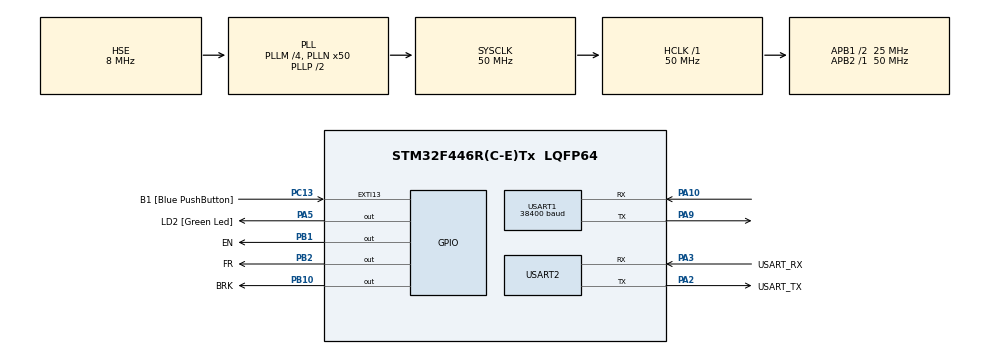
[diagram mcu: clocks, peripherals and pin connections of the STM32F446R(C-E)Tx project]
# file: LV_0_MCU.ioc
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FREERTOS.Tasks01=ParsingTask,24,128,vParsing,Default,NULL,Dynamic,NULL,NULL;ServeQueueTask,24,256,vServeQueue,Default,NULL,Dynamic,NULL,NULL;TransitTask,24,128,vTransit,Default,NULL,Dynamic,NULL,NULL;UART_WriteTask,24,256,vUART_Write,Default,NULL,Dynamic,NULL,NULL;UART_ReadTask,24,512,vUART_Read,Default,NULL,Dynamic,NULL,NULL;ProcessTask,24,256,vProcess,Default,NULL,Dynamic,NULL,NULL;StopperTask,24,256,vStopper,Default,NULL,Dynamic,NULL,NULL
FREERTOS.Timers01=xStartTransitTimer,vStartTransit,osTimerPeriodic,Default,NULL,Dynamic,NULL;xReachTimer,vReach,osTimerPeriodic,Default,NULL,Dynamic,NULL
FREERTOS.configUSE_NEWLIB_REENTRANT=1
Mcu.Family=STM32F4
Mcu.Name=STM32F446R(C-E)Tx
Mcu.Package=LQFP64
NVIC.PriorityGroup=NVIC_PRIORITYGROUP_4
NVIC.TIM6_DAC_IRQn=true\:15\:0\:false\:false\:true\:false\:false\:true\:true
NVIC.TimeBase=TIM6_DAC_IRQn
NVIC.TimeBaseIP=TIM6
NVIC.USART1_IRQn=true\:5\:0\:false\:false\:true\:true\:true\:true\:true
PA10.Mode=Asynchronous
PA10.Signal=USART1_RX
PA13.GPIO_Label=TMS
PA13.Mode=Serial_Wire
PA13.Signal=SYS_JTMS-SWDIO
PA14.GPIO_Label=TCK
PA14.Mode=Serial_Wire
PA14.Signal=SYS_JTCK-SWCLK
PA2.GPIO_Label=USART_TX
PA2.Mode=Asynchronous
PA2.Signal=USART2_TX
PA3.GPIO_Label=USART_RX
PA3.Mode=Asynchronous
PA3.Signal=USART2_RX
PA5.GPIO_Label=LD2 [Green Led]
PA5.Signal=GPIO_Output
PA9.Mode=Asynchronous
PA9.Signal=USART1_TX
PB1.GPIO_Label=EN
PB1.Signal=GPIO_Output
PB10.GPIO_Label=BRK
PB10.Signal=GPIO_Output
PB2.GPIO_Label=FR
PB2.Signal=GPIO_Output
PB3.GPIO_Label=SWO
PB3.Signal=SYS_JTDO-SWO
PC13.GPIO_Label=B1 [Blue PushButton]
PC13.GPIO_ModeDefaultEXTI=GPIO_MODE_IT_FALLING
PC13.Signal=GPXTI13
PC14-OSC32_IN.Mode=LSE-External-Oscillator
PC14-OSC32_IN.Signal=RCC_OSC32_IN
PC15-OSC32_OUT.Mode=LSE-External-Oscillator
PC15-OSC32_OUT.Signal=RCC_OSC32_OUT
PH0-OSC_IN.Mode=HSE-External-Oscillator
PH0-OSC_IN.Signal=RCC_OSC_IN
PH1-OSC_OUT.Mode=HSE-External-Oscillator
PH1-OSC_OUT.Signal=RCC_OSC_OUT
ProjectManager.HeapSize=0x200
ProjectManager.StackSize=0x400
ProjectManager.TargetToolchain=STM32CubeIDE
RCC.48MHZClocksFreq_Value=84000000
RCC.AHBFreq_Value=50000000
RCC.APB1CLKDivider=RCC_HCLK_DIV2
RCC.APB1Freq_Value=25000000
RCC.APB1TimFreq_Value=50000000
RCC.APB2Freq_Value=50000000
RCC.APB2TimFreq_Value=50000000
RCC.CortexFreq_Value=50000000
RCC.FLatency-AdvancedSettings=FLASH_LATENCY_1
RCC.HCLKFreq_Value=50000000
RCC.HSE_VALUE=8000000
RCC.HSI_VALUE=16000000
RCC.PLLM=4
RCC.PLLN=50
RCC.PLLSourceVirtual=RCC_PLLSOURCE_HSE
RCC.SYSCLKFreq_VALUE=50000000
RCC.SYSCLKSource=RCC_SYSCLKSOURCE_PLLCLK
RCC.USBFreq_Value=50000000
RCC.VCOOutputFreq_Value=100000000
USART1.BaudRate=38400
USART1.Parity=PARITY_EVEN
USART1.VirtualMode=VM_ASYNC
USART1.WordLength=WORDLENGTH_9B
USART2.VirtualMode=VM_ASYNC
VP_FREERTOS_VS_CMSIS_V2.Mode=CMSIS_V2
VP_SYS_VS_tim6.Mode=TIM6
board=NUCLEO-F446RE

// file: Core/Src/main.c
/* USER CODE BEGIN Header */
/**
  ******************************************************************************
  * @file           : main.c
  * @brief          : Main program body
  ******************************************************************************
  * @attention
  *
  * Copyright (c) 2025 STMicroelectronics.
  * All rights reserved.
  *
  * This software is licensed under terms that can be found in the LICENSE file
  * in the root directory of this software component.
  * If no LICENSE file comes with this software, it is provided AS-IS.
  *
  ******************************************************************************
  */
/* USER CODE END Header */
#include "main.h"
#include "cmsis_os.h"

/* USER CODE BEGIN Includes */
#include "modbus_crc.h"
#include "queue.h"
#include "semphr.h"
#include "string.h"
#include "stdlib.h"
/* USER CODE END Includes */

/* USER CODE BEGIN PTD */
typedef struct{
	uint8_t slaveID;
	uint16_t start_address_readHreg;
	uint16_t num_readHreg;
	uint16_t start_address_writeHreg;
	uint16_t num_writeHreg;
}NewSlave;

typedef struct{
    uint8_t data[32];
    uint16_t size;
}UART_Frame;

typedef enum{
	CAR,
	HALL,
	MQTT,
	DRIVER
}current_slave;

typedef enum{
	HALL_UI,
	CABIN
}call_by;

typedef enum{
	IDLE,
	UP,
	DOWN
}direction;

typedef enum{
	STAY,
	MOVING
}curr_action;

typedef enum{
	WAIT,
	READ,
	WRITE
}transaction_t;

//typedef struct{
//	direction dir;
//	uint16_t toque;
//	uint16_t speed1;
//	uint16_t speed2;
//	void (*on)(void);
//	void (*rotate)(direction r);
//}SERVO;

typedef struct{
	uint8_t from;
	uint8_t dest;
	direction dir;
	uint8_t target;
	call_by requestBy;
}transitReq;

typedef struct{
	//uint8_t request[8];
	transitReq request[8];
	uint8_t front;
	uint8_t rear;
}SERVE_QUEUE;

typedef struct{
	uint8_t max_fl;
	uint8_t min_fl;
	uint8_t pos;
	direction dir;
	curr_action action;
}ELEVATOR_CAR;

NewSlave CAR_STA = {
		.slaveID = 0x01,
		.start_address_readHreg = 0x0002,     // 0  1  / 2  3
		.num_readHreg = 0x0002,
		.start_address_writeHreg = 0x0000,
		.num_writeHreg = 0x0002,
};

NewSlave HALL_STA = {
		.slaveID = 0x02,
		.start_address_readHreg = 0x0004,
		.num_readHreg = 0x0003,
		.start_address_writeHreg = 0x0000,
		.num_writeHreg = 0x0004,
};

NewSlave MQTT_STA = {
		.slaveID = 0x03,
		.start_address_readHreg = 0x0000,
		.num_readHreg = 0x0001,
		.start_address_writeHreg = 0x0000,
		.num_writeHreg = 0x0001,
};

NewSlave SERVO_DRIVER = {
		.slaveID = 0x7F,
		.start_address_readHreg = 0x0000,
		.num_readHreg = 0x0001,
		.start_address_writeHreg = 0x0000,
		.num_writeHreg = 0x0001,
};

SERVE_QUEUE queue_UP;
SERVE_QUEUE queue_DW;
transitReq buffReq;
transaction_t mbState = READ;

uint8_t curr_transit_to;

uint8_t lastTarget_CAR = 0;
uint32_t lastTimeCAR = 0;
uint8_t UP_lastTarget_HALL = 0;
uint32_t UP_lastTimeHALL = 0;
uint8_t DW_lastTarget_HALL = 0;
uint32_t DW_lastTimeHALL = 0;
uint8_t requestByCar[8];

int x,y,z,xx, yy,zz;

ELEVATOR_CAR cabin_1 = {
		.max_fl = 8,
		.min_fl = 1,
		.pos = 1,
		.dir = IDLE,
		.action = STAY
};

/* USER CODE END PTD */

/* USER CODE BEGIN PD */
#define FRAME_SIZE 32
#define RESPONSE_TIMEOUT 20
#define QUEUE_SIZE 32
#define DEBOUNCE_MS 1000

//servo macro
//#define SERVO_ON(obj) (obj).on(&(obj))
//#define SERV0_ROTATE(obj, dir) (obj).rotate(&(obj), dir, (obj).speed)
//#define SERVO_SET_SPD(obj, spd) (obj).speed = spd

/* USER CODE END PD */

/* USER CODE BEGIN PM */
#define DIR(car_pos, dest)  ((car_pos) > (dest) ? DOWN : UP)
/* USER CODE END PM */

UART_HandleTypeDef huart1;
UART_HandleTypeDef huart2;

/* Definitions for ParsingTask */
osThreadId_t ParsingTaskHandle;
const osThreadAttr_t ParsingTask_attributes = {
  .name = "ParsingTask",
  .stack_size = 128 * 4,
  .priority = (osPriority_t) osPriorityNormal,
};
/* Definitions for ServeQueueTask */
osThreadId_t ServeQueueTaskHandle;
const osThreadAttr_t ServeQueueTask_attributes = {
  .name = "ServeQueueTask",
  .stack_size = 256 * 4,
  .priority = (osPriority_t) osPriorityNormal,
};
/* Definitions for TransitTask */
osThreadId_t TransitTaskHandle;
const osThreadAttr_t TransitTask_attributes = {
  .name = "TransitTask",
  .stack_size = 128 * 4,
  .priority = (osPriority_t) osPriorityNormal,
};
/* Definitions for UART_WriteTask */
osThreadId_t UART_WriteTaskHandle;
const osThreadAttr_t UART_WriteTask_attributes = {
  .name = "UART_WriteTask",
  .stack_size = 256 * 4,
  .priority = (osPriority_t) osPriorityNormal,
};
/* Definitions for UART_ReadTask */
osThreadId_t UART_ReadTaskHandle;
const osThreadAttr_t UART_ReadTask_attributes = {
  .name = "UART_ReadTask",
  .stack_size = 512 * 4,
  .priority = (osPriority_t) osPriorityNormal,
};
/* Definitions for ProcessTask */
osThreadId_t ProcessTaskHandle;
const osThreadAttr_t ProcessTask_attributes = {
  .name = "ProcessTask",
  .stack_size = 256 * 4,
  .priority = (osPriority_t) osPriorityNormal,
};
/* Definitions for StopperTask */
osThreadId_t StopperTaskHandle;
const osThreadAttr_t StopperTask_attributes = {
  .name = "StopperTask",
  .stack_size = 256 * 4,
  .priority = (osPriority_t) osPriorityNormal,
};
/* Definitions for xStartTransitTimer */
osTimerId_t xStartTransitTimerHandle;
const osTimerAttr_t xStartTransitTimer_attributes = {
  .name = "xStartTransitTimer"
};
/* Definitions for xReachTimer */
osTimerId_t xReachTimerHandle;
const osTimerAttr_t xReachTimer_attributes = {
  .name = "xReachTimer"
};
/* USER CODE BEGIN PV */
uint8_t RxData[16] = {0};
uint8_t read_TxFrame[8][16] = {0};
uint8_t write_TxFrame[8][16] = {0};
uint8_t read_RxFrame[8][16] = {0};
uint16_t CAR_TxFrame[8] = {0};
uint16_t HALL_TxFrame[8] = {0};
uint16_t floorDetect = -1;

current_slave read_state = CAR;
current_slave write_state = CAR;

int car_aiming[16] = {0};
int val_car;
int val_up;
int val_dw;

QueueHandle_t xUART_QueueHandle;
QueueHandle_t xServe_QueueHandle;
SemaphoreHandle_t xQueueSem;
SemaphoreHandle_t xQueueMutex;
SemaphoreHandle_t xUARTMutex;
SemaphoreHandle_t xTransitDoneSem;
SemaphoreHandle_t xModbusMutex;
SemaphoreHandle_t xSemServeQueue;
/* USER CODE END PV */

void SystemClock_Config(void);
static void MX_GPIO_Init(void);
static void MX_USART2_UART_Init(void);
static void MX_USART1_UART_Init(void);
void vParsing(void *argument);
void vServeQueue(void *argument);
void vTransit(void *argument);
void vUART_Write(void *argument);
void vUART_Read(void *argument);
void vProcess(void *argument);
void vStopper(void *argument);
void vStartTransit(void *argument);
void vReach(void *argument);

/* USER CODE BEGIN 0 */

void HAL_UARTEx_RxEventCallback(UART_HandleTypeDef *huart, uint16_t Size)
{
	if(RxData[1] != 0x03){
			HAL_UARTEx_ReceiveToIdle_IT(&huart1, RxData, 32);
		return;
	}
	UART_Frame localBuf;
	uint16_t crc_received = RxData[Size - 2] | (RxData[Size - 1] << 8);
	uint16_t crc_calculated = crc16(RxData, Size - 2);

    if (crc_received != crc_calculated) {
    		HAL_UARTEx_ReceiveToIdle_IT(&huart1, RxData, 32);
		return;
    }
	if (Size < 5) {
	        HAL_UARTEx_ReceiveToIdle_IT(&huart1, RxData, FRAME_SIZE);
	    return;
	}
//	if(RxData[1] = 0x03){
//	localBuf.size = Size;
//	    memcpy(localBuf.data, RxData, Size);
//	    xQueueSendFromISR(xUART_QueueHandle, &localBuf, NULL);
//	}

	localBuf.size = Size;
    BaseType_t xHigherPriorityTaskWoken = pdFALSE;
	memcpy(localBuf.data, RxData, Size);
    xQueueSendFromISR(xUART_QueueHandle, &localBuf, &xHigherPriorityTaskWoken);

	memset(RxData, 0, sizeof(RxData));
	HAL_UARTEx_ReceiveToIdle_IT(&huart1, RxData, 32);

}

void writeBit(uint16_t *package, uint8_t loc, uint8_t state){
    if (state) {
        *package = *package | (1 << loc);      // set
    } else {
        *package = *package & ~(1 << loc);     // clear
    }
}

void parseEndian(uint16_t val, uint8_t *hi, uint8_t *lo){
     *hi = (val >> 8) & 0xFF;
     *lo = val & 0xFF;
}

void extractBits(int val, int *arr[16], uint8_t size) {
    for(int i = 0; i < size; i++) {
        arr[i] = (val >> i) & 1;
    }
}

uint8_t read_Hreg(NewSlave *a, uint8_t *frame)
{
	int len = 0;
	   frame[len++] = a->slaveID;
	   frame[len++] = 0x03;

	   parseEndian(a->start_address_readHreg, &frame[len], &frame[len+1]);
	   len+=2;
	   parseEndian(a->num_readHreg, &frame[len], &frame[len+1]);
	   len+=2;

	   uint16_t crc = crc16(frame, len);
	   frame[len++] = crc&0xFF;
	   frame[len++] = (crc>>8)&0xFF;

	   return len;
}

uint8_t write_singleHreg(NewSlave *a, uint32_t data, uint8_t *frame)
{

	int len = 0;
	   frame[len++] = a->slaveID;
	   frame[len++] = 0x06;

	   parseEndian(a->start_address_writeHreg, &frame[len], &frame[len+1]);
	   len+=2;

	   frame[len++] = (data >> 8) & 0xFF;
	   frame[len++] = data & 0xFF;

	   uint16_t crc = crc16(frame, len);
	   frame[len++] = crc&0xFF;
	   frame[len++] = (crc>>8)&0xFF;

	   return len;
}

uint8_t write_MultipleHreg(NewSlave *a, uint16_t data[16], uint8_t *frame)
{

	int len = 0;
	   frame[len++] = a->slaveID;
	   frame[len++] = 0x10;

	   parseEndian(a->start_address_writeHreg, &frame[len], &frame[len+1]);
	   len+=2;
	   parseEndian(a->num_writeHreg, &frame[len], &frame[len+1]);
	   len+=2;

	   frame[len++] = a->num_writeHreg * 2;

	   for (int i = 0; i < a->num_writeHreg; i++) {
		   frame[len++] = (data[i] >> 8) & 0xFF;
		   frame[len++] = data[i] & 0xFF;
	   }

	   uint16_t crc = crc16(frame, len);
	   frame[len++] = crc&0xFF;
	   frame[len++] = (crc>>8)&0xFF;

	   return len;
}

int isFull(SERVE_QUEUE *queue){
    int next = (queue->rear + 1) % QUEUE_SIZE;
    return(next == queue->front);
}

int isEmpty(SERVE_QUEUE *queue){
    return(queue->front == queue->rear);
}

int enqueue(transitReq task, SERVE_QUEUE *queue) {
    if(isFull(queue)) return 0;

//    int queue->rear = queue->rear + 1;
    queue->request[queue->rear].target = task.target;
    queue->request[queue->rear].requestBy = task.requestBy;
    if(queue->request[queue->rear].requestBy == CABIN) requestByCar[task.target] = 1;
    queue->rear = (queue->rear+1) % QUEUE_SIZE;
    return 1;
}

int dequeue(SERVE_QUEUE *queue) {
	if(isEmpty(queue)) return 0;
//    queue->request[queue->front] = queue->request[queue->front+1];
//    queue->request[queue->front] = (queue->front + 1) % QUEUE_SIZE;
//    queue->request[queue->front-1] = 0;
	if(queue->request[queue->front].requestBy == CABIN) requestByCar[queue->request[queue->front].target] = 0;
    queue->front = (queue->front + 1) % QUEUE_SIZE;
    return 1;
}

//int insertqueue(transitReq task, SERVE_QUEUE *queue, int pos){
//    int next = (queue->rear + 1) % QUEUE_SIZE;
//    if(next == queue->front) return 0;
//
//    int curr = queue->rear;
//    while (curr != pos) {
//    	int next = curr+1;
//    	int prev = curr-1;
//    	queue->request[next] = queue->request[curr];
//    	queue->request[curr] = queue->request[prev];
//    	curr = prev;
//    }
//
//    queue->request[pos] = task.target;
//	return 1;
//}

//void sortByProximity(uint8_t arr[], uint8_t pos) {
//    uint8_t n = QUEUE_SIZE;
//    uint8_t i, j, temp;
//    for (i = 0; i < n - 1; i++) {
//        for (j = 0; j < n - i - 1; j++) {
//        	int diff1 = abs(arr[j] - pos);
//        	int diff2 = abs(arr[j + 1] - pos);
//            if (diff1 > diff2) {
//                temp = arr[j];
//                arr[j] = arr[j + 1];
//                arr[j + 1] = temp;
//            }
//        }
//    }
//}
void sortByProximity(SERVE_QUEUE *queue, uint8_t pos) {
    int count = (queue->rear >= queue->front)
                ? (queue->rear - queue->front)
                : (QUEUE_SIZE - queue->front + queue->rear);

    for (int i = 0; i < count - 1; i++) {
        for (int j = 0; j < count - i - 1; j++) {
            int idx1 = (queue->front + j) % QUEUE_SIZE;
            int idx2 = (queue->front + j + 1) % QUEUE_SIZE;
            int diff1 = abs(queue->request[idx1].target - pos);
            int diff2 = abs(queue->request[idx2].target - pos);
            if (diff1 > diff2) {
                uint8_t temp = queue->request[idx1].target;
                queue->request[idx1].target = queue->request[idx2].target;
                queue->request[idx2].target = temp;
            }
        }
    }
}

int elevatorQueueManage(ELEVATOR_CAR *car, transitReq task, SERVE_QUEUE *up, SERVE_QUEUE *dw){

	if(car->dir == IDLE){
		car->dir = task.dir;
	}

	if(task.dir == UP){
		enqueue(task, up);
		//sortByProximity(up->request, car->pos);
		sortByProximity(up, car->pos);
		//curr_transit_to = up.request[up.front];

	}else{
		enqueue(task, dw);
//		sortByProximity(dw->request, car->pos);
		sortByProximity(dw, car->pos);
		//curr_transit_to = dw.request[dw.front];

	}

	if(cabin_1.dir == UP) curr_transit_to = queue_UP.request[queue_UP.front].target;
    if(cabin_1.dir == DOWN) curr_transit_to = queue_DW.request[queue_DW.front].target;

	return 1;
}

/* USER CODE END 0 */

int main(void)
{

  /* USER CODE BEGIN 1 */
  xUART_QueueHandle = xQueueCreate(32, sizeof(UART_Frame));
  xServe_QueueHandle = xQueueCreate(32, sizeof(transitReq));
  xQueueMutex = xSemaphoreCreateMutex();
  xQueueSem = xSemaphoreCreateBinary();
  xUARTMutex = xSemaphoreCreateMutex();
  xTransitDoneSem = xSemaphoreCreateBinary();
  xModbusMutex = xSemaphoreCreateMutex();
  xSemServeQueue = xSemaphoreCreateBinary();

  /* USER CODE END 1 */

  /* MCU Configuration--------------------------------------------------------*/

  /* Reset of all peripherals, Initializes the Flash interface and the Systick. */
  HAL_Init();

  /* Configure the system clock */
  SystemClock_Config();

  /* Initialize all configured peripherals */
  MX_GPIO_Init();
  MX_USART2_UART_Init();
  MX_USART1_UART_Init();
  /* USER CODE BEGIN 2 */
  HAL_UARTEx_ReceiveToIdle_IT(&huart1, RxData, sizeof(RxData));

  /* USER CODE END 2 */

  /* Init scheduler */
  osKernelInitialize();

  /* Create the timer(s) */
  /* creation of xStartTransitTimer */
  xStartTransitTimerHandle = osTimerNew(vStartTransit, osTimerOnce, NULL, &xStartTransitTimer_attributes);

  /* creation of xReachTimer */
  xReachTimerHandle = osTimerNew(vReach, osTimerOnce, NULL, &xReachTimer_attributes);

  /* Create the thread(s) */
  /* creation of ParsingTask */
  ParsingTaskHandle = osThreadNew(vParsing, NULL, &ParsingTask_attributes);

  /* creation of ServeQueueTask */
  ServeQueueTaskHandle = osThreadNew(vServeQueue, NULL, &ServeQueueTask_attributes);

  /* creation of TransitTask */
  TransitTaskHandle = osThreadNew(vTransit, NULL, &TransitTask_attributes);

  /* creation of UART_WriteTask */
  UART_WriteTaskHandle = osThreadNew(vUART_Write, NULL, &UART_WriteTask_attributes);

  /* creation of UART_ReadTask */
  UART_ReadTaskHandle = osThreadNew(vUART_Read, NULL, &UART_ReadTask_attributes);

  /* creation of ProcessTask */
  ProcessTaskHandle = osThreadNew(vProcess, NULL, &ProcessTask_attributes);

  /* creation of StopperTask */
  StopperTaskHandle = osThreadNew(vStopper, NULL, &StopperTask_attributes);

  /* Start scheduler */
  osKernelStart();

  /* We should never get here as control is now taken by the scheduler */

  /* Infinite loop */
  while (1)
  {

  }
}

void SystemClock_Config(void)
{
  RCC_OscInitTypeDef RCC_OscInitStruct = {0};
  RCC_ClkInitTypeDef RCC_ClkInitStruct = {0};

  /** Configure the main internal regulator output voltage
  */
  __HAL_RCC_PWR_CLK_ENABLE();
  __HAL_PWR_VOLTAGESCALING_CONFIG(PWR_REGULATOR_VOLTAGE_SCALE3);

  /** Initializes the RCC Oscillators according to the specified parameters
  * in the RCC_OscInitTypeDef structure.
  */
  RCC_OscInitStruct.OscillatorType = RCC_OSCILLATORTYPE_HSE;
  RCC_OscInitStruct.HSEState = RCC_HSE_ON;
  RCC_OscInitStruct.PLL.PLLState = RCC_PLL_ON;
  RCC_OscInitStruct.PLL.PLLSource = RCC_PLLSOURCE_HSE;
  RCC_OscInitStruct.PLL.PLLM = 4;
  RCC_OscInitStruct.PLL.PLLN = 50;
  RCC_OscInitStruct.PLL.PLLP = RCC_PLLP_DIV2;
  RCC_OscInitStruct.PLL.PLLQ = 2;
  RCC_OscInitStruct.PLL.PLLR = 2;
  if (HAL_RCC_OscConfig(&RCC_OscInitStruct) != HAL_OK)
  {
    Error_Handler();
  }

  /** Initializes the CPU, AHB and APB buses clocks
  */
  RCC_ClkInitStruct.ClockType = RCC_CLOCKTYPE_HCLK|RCC_CLOCKTYPE_SYSCLK
                              |RCC_CLOCKTYPE_PCLK1|RCC_CLOCKTYPE_PCLK2;
  RCC_ClkInitStruct.SYSCLKSource = RCC_SYSCLKSOURCE_PLLCLK;
  RCC_ClkInitStruct.AHBCLKDivider = RCC_SYSCLK_DIV1;
  RCC_ClkInitStruct.APB1CLKDivider = RCC_HCLK_DIV2;
  RCC_ClkInitStruct.APB2CLKDivider = RCC_HCLK_DIV1;

  if (HAL_RCC_ClockConfig(&RCC_ClkInitStruct, FLASH_LATENCY_1) != HAL_OK)
  {
    Error_Handler();
  }
}

static void MX_USART1_UART_Init(void)
{

  huart1.Instance = USART1;
  huart1.Init.BaudRate = 38400;
  huart1.Init.WordLength = UART_WORDLENGTH_9B;
  huart1.Init.StopBits = UART_STOPBITS_1;
  huart1.Init.Parity = UART_PARITY_EVEN;
  huart1.Init.Mode = UART_MODE_TX_RX;
  huart1.Init.HwFlowCtl = UART_HWCONTROL_NONE;
  huart1.Init.OverSampling = UART_OVERSAMPLING_16;
  if (HAL_UART_Init(&huart1) != HAL_OK)
  {
    Error_Handler();
  }

}

static void MX_USART2_UART_Init(void)
{

  huart2.Instance = USART2;
  huart2.Init.BaudRate = 115200;
  huart2.Init.WordLength = UART_WORDLENGTH_8B;
  huart2.Init.StopBits = UART_STOPBITS_1;
  huart2.Init.Parity = UART_PARITY_NONE;
  huart2.Init.Mode = UART_MODE_TX_RX;
  huart2.Init.HwFlowCtl = UART_HWCONTROL_NONE;
  huart2.Init.OverSampling = UART_OVERSAMPLING_16;
  if (HAL_UART_Init(&huart2) != HAL_OK)
  {
    Error_Handler();
  }

}

static void MX_GPIO_Init(void)
{
  GPIO_InitTypeDef GPIO_InitStruct = {0};

  /* GPIO Ports Clock Enable */
  __HAL_RCC_GPIOC_CLK_ENABLE();
  __HAL_RCC_GPIOH_CLK_ENABLE();
  __HAL_RCC_GPIOA_CLK_ENABLE();
  __HAL_RCC_GPIOB_CLK_ENABLE();

  /*Configure GPIO pin Output Level */
  HAL_GPIO_WritePin(LD2_GPIO_Port, LD2_Pin, GPIO_PIN_RESET);

  /*Configure GPIO pin Output Level */
  HAL_GPIO_WritePin(GPIOB, EN_Pin|FR_Pin|BRK_Pin, GPIO_PIN_RESET);

  /*Configure GPIO pin : B1_Pin */
  GPIO_InitStruct.Pin = B1_Pin;
  GPIO_InitStruct.Mode = GPIO_MODE_IT_FALLING;
  GPIO_InitStruct.Pull = GPIO_NOPULL;
  HAL_GPIO_Init(B1_GPIO_Port, &GPIO_InitStruct);

  /*Configure GPIO pin : LD2_Pin */
  GPIO_InitStruct.Pin = LD2_Pin;
  GPIO_InitStruct.Mode = GPIO_MODE_OUTPUT_PP;
  GPIO_InitStruct.Pull = GPIO_NOPULL;
  GPIO_InitStruct.Speed = GPIO_SPEED_FREQ_LOW;
  HAL_GPIO_Init(LD2_GPIO_Port, &GPIO_InitStruct);

  /*Configure GPIO pins : EN_Pin FR_Pin BRK_Pin */
  GPIO_InitStruct.Pin = EN_Pin|FR_Pin|BRK_Pin;
  GPIO_InitStruct.Mode = GPIO_MODE_OUTPUT_PP;
  GPIO_InitStruct.Pull = GPIO_NOPULL;
  GPIO_InitStruct.Speed = GPIO_SPEED_FREQ_LOW;
  HAL_GPIO_Init(GPIOB, &GPIO_InitStruct);

}

void vParsing(void *argument)
{
  /* USER CODE BEGIN 5 */
  /* Infinite loop */
  for(;;)
  {
		UART_Frame frameBuf;
			if (xQueueReceive(xUART_QueueHandle, &frameBuf, portMAX_DELAY) == pdTRUE)
		    {
//		    	int id = frameBuf.data[0];
//		    	if(frameBuf.data[1] == 0x03){
//		    		memcpy(read_RxFrame[id], frameBuf.data, frameBuf.size);
//		    	}

		    	//if(frameBuf.data[1] == 0x10);

	        uint8_t slaveID = frameBuf.data[0];
			int index = -1;

			        switch(slaveID) {
			            case 0x01: index = 1; break;  // CAR_STA
			            case 0x02: index = 2; break;  // HALL_STA
			            case 0x03: index = 3; break;  // MQTT_STA
			            case 0x7F: index = 4; break;  // SERVO_DRIVER
			            default:
			                // Invalid slave ID - discard frame
			            	index = -1;
			                continue;
			        }

			        if(index >= 0 && index < 16) {
		                uint16_t copy_len = (frameBuf.size <= sizeof(read_RxFrame[0])) ? frameBuf.size : sizeof(read_RxFrame[0]);
			            memcpy(read_RxFrame[index], frameBuf.data, copy_len);
			        }

		    }
		vTaskDelay(pdMS_TO_TICKS(10));

  }
  /* USER CODE END 5 */
}

void vServeQueue(void *argument)
{
  /* USER CODE BEGIN vServeQueue */
  /* Infinite loop */
  transitReq request;
  for(;;)
  {
	  	  while(xQueueReceive(xServe_QueueHandle, &request, portMAX_DELAY)){
//		if(xSemaphoreTake(xSemServeQueue, portMAX_DELAY) == pdTRUE){
	  		  x = 1;
//				if(xSemaphoreTake(xQueueMutex, portMAX_DELAY) == pdTRUE){
					if(elevatorQueueManage(&cabin_1, request, &queue_UP, &queue_DW)){
		                if(cabin_1.action == STAY){
		                	x = 10;
//		                	if(cabin_1.dir == UP) curr_transit_to = queue_UP.request[queue_UP.front].target;
//			                if(cabin_1.dir == DOWN) curr_transit_to = queue_DW.request[queue_DW.front].target;
		                	osTimerStart(xStartTransitTimerHandle, 6000);
		                }
		                else{
		                	x = 11;
		                	osTimerStart(xStartTransitTimerHandle, 500);
		                }
					}
//		            xSemaphoreGive(xQueueMutex);
//				}
		    }

  }
  /* USER CODE END vServeQueue */
}

void vTransit(void *argument)
{
  /* USER CODE BEGIN vTransit */
  /* Infinite loop */
//  uint8_t dest;
  for(;;)
  {
	  if(xSemaphoreTake(xQueueSem, portMAX_DELAY) == pdTRUE){
//		  if(xSemaphoreTake(xQueueMutex, portMAX_DELAY) == pdTRUE){
//			  dest  = curr_transit_to;
//		      xSemaphoreGive(xQueueMutex);
//		  }
		  z = 1;
//		  if(cabin_1.pos == curr_transit_to) xSemaphoreGive(xTransitDoneSem);
		  if(cabin_1.dir == UP) HAL_GPIO_WritePin(FR_GPIO_Port, FR_Pin, GPIO_PIN_SET);
		  if(cabin_1.dir == DOWN) HAL_GPIO_WritePin(FR_GPIO_Port, FR_Pin, GPIO_PIN_RESET);
		  HAL_GPIO_WritePin(EN_GPIO_Port, EN_Pin, GPIO_PIN_SET);
		   //mocking cabin transit
//		  osTimerStart(xReachTimerHandle, 5000);

		  //xSemaphoreGive(xTransitDoneSem); //done transit flag
	  }
  }
  /* USER CODE END vTransit */
}

void vUART_Write(void *argument)
{
  /* USER CODE BEGIN vUART_Write */
  /* Infinite loop */
  uint8_t len;
  uint8_t up;
  uint8_t dw;
  uint8_t idle;

  for(;;)
  {

	  	switch(cabin_1.dir){
	  	case UP:
	  		up = 1;
	  		dw = 0;
	  		idle = 0;
	  		break;

	  	case DOWN:
	  		up = 0;
	  		dw = 1;
	  		idle = 0;
	  		break;

	  	case IDLE:
	  		up = 0;
	  		dw = 0;
	  		idle = 1;
	  		break;
	  	}

	  	uint8_t pos_b0 = (cabin_1.pos>>0) & 1;
	  	uint8_t pos_b1 = (cabin_1.pos>>1) & 1;
	  	uint8_t pos_b2 = (cabin_1.pos>>2) & 1;
	  	uint8_t pos_b3 = (cabin_1.pos>>3) & 1;

	  	if(mbState == WRITE){
		switch (write_state){
			case CAR:
				//packing for car
				//car first frame
				writeBit(&CAR_TxFrame[0], 4, dw); //dir dw
				writeBit(&CAR_TxFrame[0], 5, up); //dir up
				writeBit(&CAR_TxFrame[0], 6, pos_b0); //car pos b0
				writeBit(&CAR_TxFrame[0], 7, pos_b1);
				writeBit(&CAR_TxFrame[0], 8, pos_b2);
				writeBit(&CAR_TxFrame[0], 9, pos_b3);

				writeBit(&CAR_TxFrame[1], 0, requestByCar[0]);
				writeBit(&CAR_TxFrame[1], 1, requestByCar[1]);
				writeBit(&CAR_TxFrame[1], 2, requestByCar[2]);
				writeBit(&CAR_TxFrame[1], 3, requestByCar[3]);
				writeBit(&CAR_TxFrame[1], 4, requestByCar[4]);
				writeBit(&CAR_TxFrame[1], 5, requestByCar[5]);
				writeBit(&CAR_TxFrame[1], 6, requestByCar[6]);
				writeBit(&CAR_TxFrame[1], 7, requestByCar[7]);

				len = write_MultipleHreg(&CAR_STA, CAR_TxFrame, write_TxFrame[0]);
				HAL_UART_Transmit(&huart1, write_TxFrame[0], len, RESPONSE_TIMEOUT);

				write_state = HALL;
				break;

			case HALL:
				writeBit(&HALL_TxFrame[3], 0, dw); //dir dw
				writeBit(&HALL_TxFrame[3], 1, up); //dir up
				writeBit(&HALL_TxFrame[3], 2, pos_b0); //car pos b0
				writeBit(&HALL_TxFrame[3], 3, pos_b1);
				writeBit(&HALL_TxFrame[3], 4, pos_b2);
				writeBit(&HALL_TxFrame[3], 5, pos_b3);

				len = write_MultipleHreg(&HALL_STA, HALL_TxFrame, write_TxFrame[1]);
  				HAL_UART_Transmit(&huart1, write_TxFrame[1], len, RESPONSE_TIMEOUT);

				write_state = MQTT;
				break;
			case MQTT:
//				len = read_Hreg(&MQTT_STA, read_TxFrame[2]);
//				HAL_UART_Transmit(&huart1, read_TxFrame[2], len, RESPONSE_TIMEOUT);
				write_state = DRIVER;
				break;

			case DRIVER:
//				len = read_Hreg(&SERVO_DRIVER, read_TxFrame[3]);
//				HAL_UART_Transmit(&huart1, read_TxFrame[3], len, RESPONSE_TIMEOUT);
				write_state = CAR;
				mbState = READ;
				break;

			}
	  	}
	  	vTaskDelay(pdMS_TO_TICKS(20));
  }
  /* USER CODE END vUART_Write */
}

void vUART_Read(void *argument)
{
  /* USER CODE BEGIN vUART_Read */
  /* Infinite loop */
	  uint8_t len;
	  for(;;)
	  {
		if(mbState == READ){
		switch (read_state){
			case CAR:
  				len = read_Hreg(&CAR_STA, read_TxFrame[0]);
  				HAL_UART_Transmit(&huart1, read_TxFrame[0], len, RESPONSE_TIMEOUT);
				read_state = HALL;
				break;

			case HALL:
				len = read_Hreg(&HALL_STA, read_TxFrame[1]);
				HAL_UART_Transmit(&huart1, read_TxFrame[1], len, RESPONSE_TIMEOUT);
				read_state = MQTT;
				break;
			case MQTT:
				len = read_Hreg(&MQTT_STA, read_TxFrame[2]);
  				HAL_UART_Transmit(&huart1, read_TxFrame[2], len, RESPONSE_TIMEOUT);
				read_state = DRIVER;
				break;

			case DRIVER:
				len = read_Hreg(&SERVO_DRIVER, read_TxFrame[3]);
  				HAL_UART_Transmit(&huart1, read_TxFrame[3], len, RESPONSE_TIMEOUT);
				read_state = CAR;
				mbState = WRITE;
				break;
			}
		}
		vTaskDelay(pdMS_TO_TICKS(20));
	  }
  /* USER CODE END vUART_Read */
}

void vProcess(void *argument)
{
  /* USER CODE BEGIN vProcess */
  /* Infinite loop */
  transitReq car;
  transitReq hall_up;
  transitReq hall_dw;

  int hall_calling_UP[16] = {0};
  int hall_calling_DW[16] = {0};
  //int car_aiming[16] = {0};
//  uint16_t floorDetect;
  for(;;)
  {
	  uint32_t now = HAL_GetTick();

      /* --- Hall UP --- */
	  val_up = (read_RxFrame[2][5] << 8) | read_RxFrame[2][6];
      extractBits(val_up, hall_calling_UP, cabin_1.max_fl);

      /* --- Hall DOWN --- */
      val_dw = (read_RxFrame[2][7] << 8) | read_RxFrame[2][8];
      extractBits(val_dw, hall_calling_DW, cabin_1.max_fl);

      /* --- Car Aiming --- */
      val_car = (read_RxFrame[1][5] << 8) | read_RxFrame[1][6];
      extractBits(val_car, car_aiming, cabin_1.max_fl);

      floorDetect = (read_RxFrame[1][3] << 8) | read_RxFrame[1][4];  //floor sensor detect
      floorDetect = floorDetect >> 5;
      switch (floorDetect){
      	  case 0:
      	  	break;

      	  case 1:
    		cabin_1.pos = 1;
      		if(curr_transit_to == 1){
      			curr_transit_to = 0;
      			y = 20;
      			xSemaphoreGive(xTransitDoneSem);
      		}
      		break;

      	  case 2:
  			cabin_1.pos = 2;
      		if(curr_transit_to == 2){
      			curr_transit_to = 0;
      			y = 20;
    			xSemaphoreGive(xTransitDoneSem);
    		}
      		break;

      	  case 3:
    		cabin_1.pos = 3;
      		if(curr_transit_to == 3){
      			curr_transit_to = 0;
      			y = 20;
        		xSemaphoreGive(xTransitDoneSem);
        	}
      		break;
      }

//	  if(hall_calling_UP[0] == 1){
	  if(val_up > 0){
		 for(int i = 1; i<=8; i++){
			 if(hall_calling_UP[i] == 1){
				 hall_up.target = i;
				 hall_up.dir = UP;
				 hall_up.requestBy = HALL_UI;
//				 buffReq.target = i;
//				 buffReq.dir = UP;
//				 buffReq.requestBy = HALL_UI;
				 if((UP_lastTarget_HALL != hall_up.target) && (hall_up.target != cabin_1.pos)){
					 UP_lastTarget_HALL = hall_up.target;
					 xQueueSend(xServe_QueueHandle, &hall_up, 0);
//					 xSemaphoreGive(xSemServeQueue);
				 }
			 }
		 }
	  }

//	  if(hall_calling_DW[0] == 1){
	  if(val_dw > 0){
		 for(int i = 1; i<=8; i++){
			 if(hall_calling_DW[i] == 1){
				 hall_dw.target = i;
				 hall_dw.dir = DOWN;
				 hall_dw.requestBy = HALL_UI;
				 if((DW_lastTarget_HALL != hall_dw.target) && (hall_dw.target != cabin_1.pos)){
					 DW_lastTarget_HALL = hall_dw.target;
					 xQueueSend(xServe_QueueHandle, &hall_dw, 0);
//					 xSemaphoreGive(xSemServeQueue);

				 }
			 }
		 }
	  }

	  if(car_aiming[0] == 1){
		 for(int i = 1; i<=8; i++){
			 if(car_aiming[i] == 1){
				 car.target = i;
				 car.dir = DIR(cabin_1.pos, i);
				 car.requestBy = CABIN;
//				 buffReq.target = i;
//				 buffReq.dir = DIR(cabin_1.pos, i);
//				 buffReq.requestBy = CABIN;
//				 if(now - lastTimeCAR > DEBOUNCE_MS){
//					 lastTimeCAR = now;
//				     xQueueSend(xServe_QueueHandle, &request, 0);
//				 }
				 if((lastTarget_CAR != car.target) && (car.target != cabin_1.pos)){
					 lastTarget_CAR = car.target;
					 xQueueSend(xServe_QueueHandle, &car, 0);
//					 xSemaphoreGive(xSemServeQueue);
				 }
			 }
		 }
	  }

	vTaskDelay(pdMS_TO_TICKS(10));
  }
  /* USER CODE END vProcess */
}

void vStopper(void *argument)
{
  /* USER CODE BEGIN vStopper */
  /* Infinite loop */
  for(;;)
  {
		if(xSemaphoreTake(xTransitDoneSem, portMAX_DELAY) == pdTRUE)
			{
			y = 1;
				if(xSemaphoreTake(xQueueMutex, portMAX_DELAY) == pdTRUE){
					direction curr_dir = cabin_1.dir;
					switch (curr_dir){
					case IDLE:
						break;
					case UP:
						dequeue(&queue_UP);
						break;
					case DOWN:
						dequeue(&queue_DW);
						break;
					}

					if(!isEmpty(&queue_UP) || !isEmpty(&queue_DW)){
						if((isEmpty(&queue_UP) == 0) && (curr_dir == UP)){
							curr_transit_to = queue_UP.request[queue_UP.front].target;
			                xSemaphoreGive(xQueueSem);

						}else if((isEmpty(&queue_UP) == 1) && (curr_dir == UP)){
							if(!isEmpty(&queue_DW)) cabin_1.dir = DOWN;

						}else if((isEmpty(&queue_DW) == 0) && (curr_dir == DOWN)){
							curr_transit_to = queue_DW.request[queue_DW.front].target;
			                xSemaphoreGive(xQueueSem);

						}else if((isEmpty(&queue_DW) == 1) && (curr_dir == DOWN)){
							if(!isEmpty(&queue_UP)) cabin_1.dir = UP;
						}
					}else{
						y = 3;
						cabin_1.action = STAY;
						cabin_1.dir = IDLE;
					}
		            xSemaphoreGive(xQueueMutex);
				}
			}
  }
  /* USER CODE END vStopper */
}

/* vStartTransit function */
void vStartTransit(void *argument)
{
  /* USER CODE BEGIN vStartTransit */
    BaseType_t xHigherPriorityTaskWoken = pdFALSE;
    cabin_1.action = MOVING;
    x = 2;
    xSemaphoreGiveFromISR(xQueueSem, &xHigherPriorityTaskWoken);
    portYIELD_FROM_ISR(xHigherPriorityTaskWoken);
  /* USER CODE END vStartTransit */
}

/* vReach function */
void vReach(void *argument)
{
  /* USER CODE BEGIN vReach */
    BaseType_t xHigherPriorityTaskWoken = pdFALSE;
    xSemaphoreGiveFromISR(xTransitDoneSem, &xHigherPriorityTaskWoken);
    portYIELD_FROM_ISR(xHigherPriorityTaskWoken);
  /* USER CODE END vReach */
}

void HAL_TIM_PeriodElapsedCallback(TIM_HandleTypeDef *htim)
{
  if (htim->Instance == TIM6)
  {
    HAL_IncTick();
  }
}

void Error_Handler(void)
{
  __disable_irq();
  while (1)
  {
  }
}
